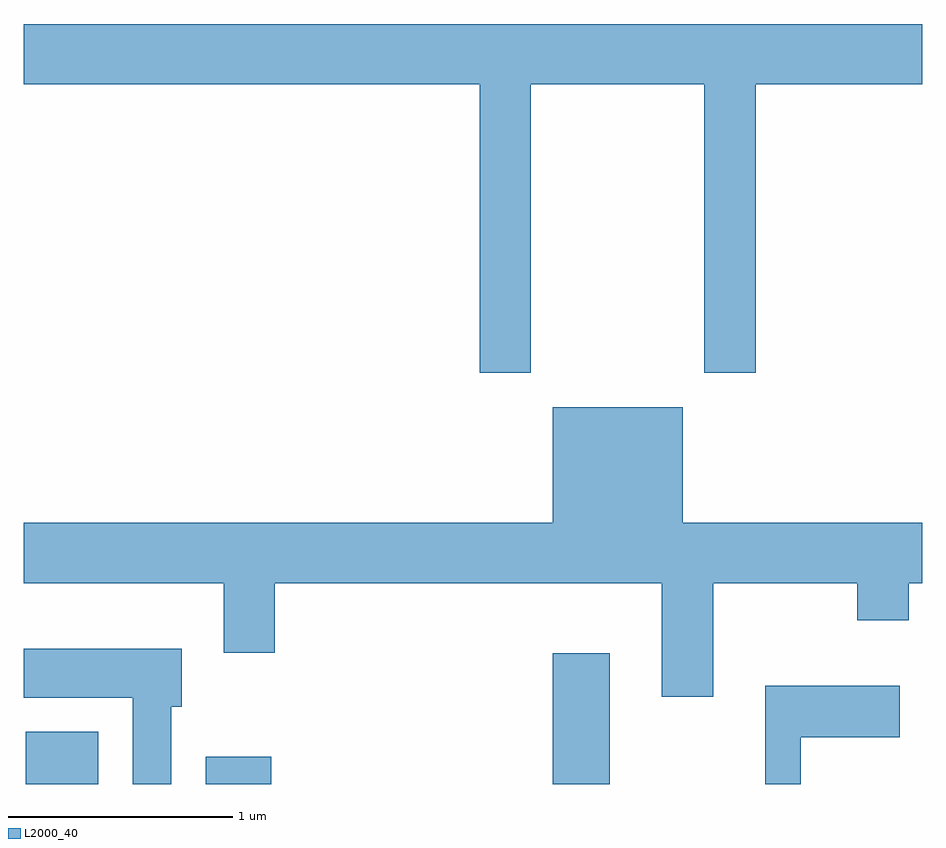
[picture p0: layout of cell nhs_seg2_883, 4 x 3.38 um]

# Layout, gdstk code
import gdstk
lib = gdstk.Library(unit=1e-6, precision=1e-09)
def R(c, l, rs):  # rectangles x0, y0, x1, y1
    for r in rs: c.add(gdstk.rectangle(r[:2], r[2:], *l))
def P(c, l, *ps):  # polygons
    for p in ps: c.add(gdstk.Polygon(p, *l))
L2000_40 = (2000, 40)

nhs_seg2_883 = lib.new_cell('nhs_seg2_883')
R(nhs_seg2_883, L2000_40, [(209.621,1111.802,209.944,1112.034), (210.421,1111.802,210.714,1111.924), (211.966,1111.802,212.219,1112.384)])
P(nhs_seg2_883, L2000_40, [(211.869,1114.916),(212.641,1114.916),(212.641,1113.631),(212.869,1113.631),(212.869,1114.916),(213.611,1114.916),(213.611,1115.184),(209.611,1115.184),(209.611,1114.916),(211.641,1114.916),(211.641,1113.631),(211.869,1113.631)],
  [(212.679,1112.696),(213.321,1112.696),(213.321,1112.531),(213.549,1112.531),(213.549,1112.696),(213.611,1112.696),(213.611,1112.964),(212.544,1112.964),(212.544,1113.479),(211.966,1113.479),(211.966,1112.964),(209.611,1112.964),(209.611,1112.696),(210.501,1112.696),(210.501,1112.386),(210.729,1112.386),(210.729,1112.696),(212.451,1112.696),(212.451,1112.191),(212.679,1112.191)],
  [(210.269,1112.146),(210.314,1112.146),(210.314,1112.404),(209.611,1112.404),(209.611,1112.186),(210.096,1112.186),(210.096,1111.802),(210.269,1111.802)],
  [(213.069,1112.011),(213.509,1112.011),(213.509,1112.239),(212.911,1112.239),(212.911,1111.802),(213.069,1111.802)])

lib.write_gds('nhs_seg2_883.gds')
